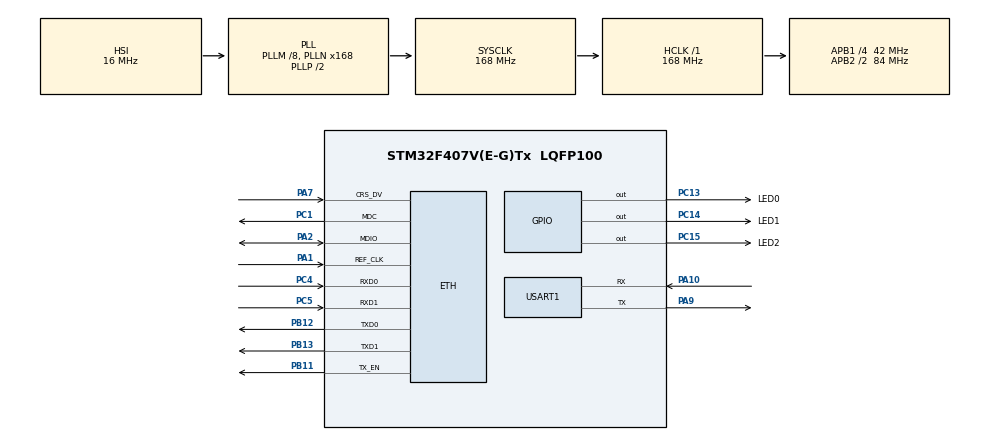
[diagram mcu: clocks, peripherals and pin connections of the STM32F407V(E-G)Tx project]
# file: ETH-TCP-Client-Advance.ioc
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Dma.Request0=USART1_RX
Dma.Request1=USART1_TX
Dma.USART1_RX.0.Direction=DMA_PERIPH_TO_MEMORY
Dma.USART1_RX.0.FIFOMode=DMA_FIFOMODE_DISABLE
Dma.USART1_RX.0.Instance=DMA2_Stream2
Dma.USART1_RX.0.MemDataAlignment=DMA_MDATAALIGN_BYTE
Dma.USART1_RX.0.MemInc=DMA_MINC_ENABLE
Dma.USART1_RX.0.Mode=DMA_NORMAL
Dma.USART1_RX.0.PeriphDataAlignment=DMA_PDATAALIGN_BYTE
Dma.USART1_RX.0.PeriphInc=DMA_PINC_DISABLE
Dma.USART1_RX.0.Priority=DMA_PRIORITY_LOW
Dma.USART1_TX.1.Direction=DMA_MEMORY_TO_PERIPH
Dma.USART1_TX.1.FIFOMode=DMA_FIFOMODE_DISABLE
Dma.USART1_TX.1.Instance=DMA2_Stream7
Dma.USART1_TX.1.MemDataAlignment=DMA_MDATAALIGN_BYTE
Dma.USART1_TX.1.MemInc=DMA_MINC_ENABLE
Dma.USART1_TX.1.Mode=DMA_NORMAL
Dma.USART1_TX.1.PeriphDataAlignment=DMA_PDATAALIGN_BYTE
Dma.USART1_TX.1.PeriphInc=DMA_PINC_DISABLE
Dma.USART1_TX.1.Priority=DMA_PRIORITY_LOW
ETH.AutoNegotiation=ETH_AUTONEGOTIATION_DISABLE
ETH.MediaInterface=ETH_MEDIA_INTERFACE_RMII
ETH.PHY_Name_RMII=DP83848_PHY_ADDRESS
LWIP.GATEWAY_ADDRESS=192.168.100.001
LWIP.IP_ADDRESS=192.168.100.200
LWIP.LWIP_DHCP=0
LWIP.MEM_SIZE=10240
LWIP.NETMASK_ADDRESS=255.255.255.000
LWIP.PBUF_POOL_BUFSIZE=1536
LWIP.TCP_MSS=1460
LWIP.Version=v2.1.2_Cube
Mcu.Family=STM32F4
Mcu.Name=STM32F407V(E-G)Tx
Mcu.Package=LQFP100
NVIC.DMA2_Stream2_IRQn=true\:0\:0\:false\:false\:true\:false\:true
NVIC.DMA2_Stream7_IRQn=true\:0\:0\:false\:false\:true\:false\:true
NVIC.PriorityGroup=NVIC_PRIORITYGROUP_4
NVIC.USART1_IRQn=true\:0\:0\:false\:false\:true\:true\:true
PA1.Mode=RMII
PA1.Signal=ETH_REF_CLK
PA10.Mode=Asynchronous
PA10.Signal=USART1_RX
PA2.Mode=RMII
PA2.Signal=ETH_MDIO
PA7.Mode=RMII
PA7.Signal=ETH_CRS_DV
PA9.Mode=Asynchronous
PA9.Signal=USART1_TX
PB11.Mode=RMII
PB11.Signal=ETH_TX_EN
PB12.Mode=RMII
PB12.Signal=ETH_TXD0
PB13.Mode=RMII
PB13.Signal=ETH_TXD1
PC1.Mode=RMII
PC1.Signal=ETH_MDC
PC13-ANTI_TAMP.GPIO_Label=LED0
PC13-ANTI_TAMP.Signal=GPIO_Output
PC14-OSC32_IN.GPIO_Label=LED1
PC14-OSC32_IN.Signal=GPIO_Output
PC15-OSC32_OUT.GPIO_Label=LED2
PC15-OSC32_OUT.Signal=GPIO_Output
PC4.Mode=RMII
PC4.Signal=ETH_RXD0
PC5.Mode=RMII
PC5.Signal=ETH_RXD1
ProjectManager.HeapSize=0x200
ProjectManager.StackSize=0x400
ProjectManager.TargetToolchain=MDK-ARM V5.27
RCC.48MHZClocksFreq_Value=84000000
RCC.AHBFreq_Value=168000000
RCC.APB1CLKDivider=RCC_HCLK_DIV4
RCC.APB1Freq_Value=42000000
RCC.APB1TimFreq_Value=84000000
RCC.APB2CLKDivider=RCC_HCLK_DIV2
RCC.APB2Freq_Value=84000000
RCC.APB2TimFreq_Value=168000000
RCC.CortexFreq_Value=168000000
RCC.HCLKFreq_Value=168000000
RCC.HSE_VALUE=25000000
RCC.HSI_VALUE=16000000
RCC.LSE_VALUE=32768
RCC.PLLM=8
RCC.PLLN=168
RCC.SYSCLKFreq_VALUE=168000000
RCC.SYSCLKSource=RCC_SYSCLKSOURCE_PLLCLK
RCC.VCOOutputFreq_Value=336000000
USART1.VirtualMode=VM_ASYNC
VP_LWIP_VS_Enabled.Mode=Enabled
board=custom

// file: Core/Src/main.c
/* USER CODE BEGIN Header */
/**
  ******************************************************************************
  * @file           : main.c
  * @brief          : Main program body
  ******************************************************************************
  * @attention
  *
  * <h2><center>&copy; Copyright (c) 2024 STMicroelectronics.
  * All rights reserved.</center></h2>
  *
  * This software component is licensed by ST under Ultimate Liberty license
  * SLA0044, the "License"; You may not use this file except in compliance with
  * the License. You may obtain a copy of the License at:
  *                             www.st.com/SLA0044
  *
  ******************************************************************************
  */
/* USER CODE END Header */
#include "main.h"
#include "dma.h"
#include "lwip.h"
#include "usart.h"
#include "gpio.h"

/* USER CODE BEGIN Includes */
#include "lwip/tcp.h"
#include "lwip/ip.h"
#include "lwip/ip_addr.h"

#include "ALCD.h"
#include "CircularBuffer.h"

#include <string.h>
#include <stdio.h>
/* USER CODE END Includes */

/* USER CODE BEGIN PTD */
typedef struct {
  GPIO_TypeDef*       GPIO;
  uint16_t            Pin;
} Led_PinConfig;

typedef struct {
  ip_addr_t           IP;
  uint16_t            Port;
} Server_Config;

typedef struct {
  struct tcp_pcb*       Context;
  const Server_Config*  Server;
  const Led_PinConfig*  Led;
  uint32_t              NextConnectionCheck;
} Client;

/* USER CODE END PTD */

/* USER CODE BEGIN PD */
#define MAX_CLIENT                3
#define TCP_CONN_RETRY_TIMEOUT    1000
#define TCP_MAX_PACKET            1460
/* USER CODE END PD */

/* USER CODE BEGIN PV */
static const Server_Config SERVER_CONFIGS[] = {
  { .IP = IPADDR4_INIT_BYTES(192, 168, 100, 100), .Port = 8585 },
  { .IP = IPADDR4_INIT_BYTES(192, 168, 100, 100), .Port = 8080 },
  { .IP = IPADDR4_INIT_BYTES(192, 168, 100, 100), .Port = 9595 },
};
static const uint16_t SERVER_CONFIGS_LEN = sizeof(SERVER_CONFIGS) / sizeof(SERVER_CONFIGS[0]);

static const Led_PinConfig LED_CONFIGS[] = {
  { LED0_GPIO_Port, LED0_Pin },
  { LED1_GPIO_Port, LED1_Pin },
  { LED2_GPIO_Port, LED2_Pin },
};
static const uint16_t LED_CONFIGS_LEN = sizeof(LED_CONFIGS) / sizeof(LED_CONFIGS[0]);

static Client clients[MAX_CLIENT] = {0};

static UART_CircularBuffer txUART1;
static UART_CircularBuffer rxUART1;
static uint8_t             txBuff1[1024];
static uint8_t             rxBuff1[1024];

/* USER CODE END PV */

void SystemClock_Config(void);
/* USER CODE BEGIN PFP */
void Client_setConfig(Client* client, const Server_Config* server, const Led_PinConfig* led);

void Client_init(Client* client);
void Client_handle(Client* client);
void Client_handleArray(Client* clients, uint16_t len);

err_t Client_onConnect(void *arg, struct tcp_pcb *tpcb, err_t err);
err_t Client_onReceive(void *arg, struct tcp_pcb *tpcb, struct pbuf *p, err_t err);
err_t Client_onPoll(void *arg, struct tcp_pcb *tpcb);
void  Client_onError(void *arg, err_t err);

void Client_broadcast(uint8_t* buf, uint16_t len);
void Client_close(Client* client);
uint16_t Client_getIdx(Client* client);
/* USER CODE END PFP */

int main(void)
{

  /* MCU Configuration--------------------------------------------------------*/

  /* Reset of all peripherals, Initializes the Flash interface and the Systick. */
  HAL_Init();

  /* Configure the system clock */
  SystemClock_Config();

  /* Initialize all configured peripherals */
  MX_GPIO_Init();
  MX_DMA_Init();
  MX_USART1_UART_Init();
  MX_LWIP_Init();
  /* USER CODE BEGIN 2 */

  // Initialize ALCD
  ALCD_init(16, 2);
  ALCD_clear();

  // Initialize UART Buffer
  UART_CircularBuffer_init(&txUART1, &huart1, txBuff1, sizeof(txBuff1));
  UART_CircularBuffer_init(&rxUART1, &huart1, rxBuff1, sizeof(rxBuff1));
  UART_CircularBuffer_receive(&rxUART1);

  // Initialize Clients
  Client_setConfig(&clients[0], &SERVER_CONFIGS[0], &LED_CONFIGS[0]);
  Client_setConfig(&clients[1], &SERVER_CONFIGS[1], &LED_CONFIGS[1]);
  Client_setConfig(&clients[2], &SERVER_CONFIGS[2], &LED_CONFIGS[2]);

  /* USER CODE END 2 */

  /* Infinite loop */
  /* USER CODE BEGIN WHILE */
  while (1)
  {
    MX_LWIP_Process();
    /* USER CODE END WHILE */

    /* USER CODE BEGIN 3 */
    Client_handleArray(clients, MAX_CLIENT);

    if (UART_CircularBuffer_available(&rxUART1) > 0) {
      uint16_t len = UART_CircularBuffer_available(&rxUART1);

      if (len > TCP_MAX_PACKET) {
        len = TCP_MAX_PACKET;
      }

      uint8_t buff[TCP_MAX_PACKET];

      UART_CircularBuffer_readBytes(&rxUART1, buff, len);
      Client_broadcast(buff, len);
    }

  }
  /* USER CODE END 3 */
}

void SystemClock_Config(void)
{
  RCC_OscInitTypeDef RCC_OscInitStruct = {0};
  RCC_ClkInitTypeDef RCC_ClkInitStruct = {0};

  /** Configure the main internal regulator output voltage
  */
  __HAL_RCC_PWR_CLK_ENABLE();
  __HAL_PWR_VOLTAGESCALING_CONFIG(PWR_REGULATOR_VOLTAGE_SCALE1);
  /** Initializes the RCC Oscillators according to the specified parameters
  * in the RCC_OscInitTypeDef structure.
  */
  RCC_OscInitStruct.OscillatorType = RCC_OSCILLATORTYPE_HSI;
  RCC_OscInitStruct.HSIState = RCC_HSI_ON;
  RCC_OscInitStruct.HSICalibrationValue = RCC_HSICALIBRATION_DEFAULT;
  RCC_OscInitStruct.PLL.PLLState = RCC_PLL_ON;
  RCC_OscInitStruct.PLL.PLLSource = RCC_PLLSOURCE_HSI;
  RCC_OscInitStruct.PLL.PLLM = 8;
  RCC_OscInitStruct.PLL.PLLN = 168;
  RCC_OscInitStruct.PLL.PLLP = RCC_PLLP_DIV2;
  RCC_OscInitStruct.PLL.PLLQ = 4;
  if (HAL_RCC_OscConfig(&RCC_OscInitStruct) != HAL_OK)
  {
    Error_Handler();
  }
  /** Initializes the CPU, AHB and APB buses clocks
  */
  RCC_ClkInitStruct.ClockType = RCC_CLOCKTYPE_HCLK|RCC_CLOCKTYPE_SYSCLK
                              |RCC_CLOCKTYPE_PCLK1|RCC_CLOCKTYPE_PCLK2;
  RCC_ClkInitStruct.SYSCLKSource = RCC_SYSCLKSOURCE_PLLCLK;
  RCC_ClkInitStruct.AHBCLKDivider = RCC_SYSCLK_DIV1;
  RCC_ClkInitStruct.APB1CLKDivider = RCC_HCLK_DIV4;
  RCC_ClkInitStruct.APB2CLKDivider = RCC_HCLK_DIV2;

  if (HAL_RCC_ClockConfig(&RCC_ClkInitStruct, FLASH_LATENCY_5) != HAL_OK)
  {
    Error_Handler();
  }
}

/* USER CODE BEGIN 4 */
void Client_setConfig(Client* client, const Server_Config* server, const Led_PinConfig* led) {
  client->Server = server;
  client->Led = led;
}

void Client_init(Client* client) {
  if (client->Context != NULL) {
    return;
  }

  client->Context = tcp_new();
  if (client->Context) {
    tcp_arg(client->Context, client);
    tcp_err(client->Context, Client_onError);
    err_t err = tcp_connect(client->Context , &client->Server->IP, client->Server->Port, Client_onConnect);

    if (err != ERR_OK) {
      memp_free(MEMP_TCP_PCB, client->Context);
      client->Context = NULL;
    }
  }
}
void Client_handle(Client* client) {
  if (client->NextConnectionCheck <= HAL_GetTick() &&
     (client->Context == NULL ||
     (client->Context != NULL && client->Context->state != ESTABLISHED))
  ) {
    client->NextConnectionCheck = HAL_GetTick() + TCP_CONN_RETRY_TIMEOUT;
    Client_init(client);
  }
}
void Client_handleArray(Client* clients, uint16_t len) {
  while (len-- > 0) {
    Client_handle(clients++);
  }
}

err_t Client_onConnect(void *arg, struct tcp_pcb *tpcb, err_t err) {
  Client* client = (Client*) arg;

  if (tpcb && err == ERR_OK) {
    // Connected
    tcp_recv(tpcb, Client_onReceive);
    tcp_poll(tpcb, Client_onPoll, 1);
    // Led On
    HAL_GPIO_WritePin(client->Led->GPIO, client->Led->Pin, GPIO_PIN_RESET);
  }
  else {
    // Not Connected
    Client_close(client);
  }

  return ERR_OK;
}
err_t Client_onReceive(void *arg, struct tcp_pcb *tpcb, struct pbuf *p, err_t err) {
  Client* client = (Client*) arg;

  if (tpcb && err == ERR_OK) {
    if (p) {
      // Data Received
      char* pChr = (char*) memchr(p->payload, ' ', p->len);
      if (pChr) {
        pChr++;
        uint32_t len = p->len - (uint32_t) ((uint8_t*) pChr - (uint8_t*) p->payload);
        if (strncmp((char*) p->payload, "alcd", 4) == 0) {
          ALCD_printfXY(0, 0, "Client: %u", Client_getIdx(client));
          uint32_t pad = 16 - len;
          ALCD_goto(0, 1);
          while (len-- > 0) {
            ALCD_putChar(*pChr++);
          }
          while (pad-- > 0) {
            ALCD_putChar(' ');
          }
        }
        else if (strncmp((char*) p->payload, "uart", 4) == 0) {
          UART_CircularBuffer_writeFmt(&txUART1, "Client: %u,", Client_getIdx(client));
          UART_CircularBuffer_writeBytes(&txUART1, (uint8_t*) pChr, len);
          UART_CircularBuffer_transmit(&txUART1);
        }
      }

      pbuf_free(p);
    }
    else {
      // Disconnected
      Client_close(client);
    }
  }

  return ERR_OK;
}

err_t Client_onPoll(void *arg, struct tcp_pcb *tpcb) {
  Client* client = (Client*) arg;

  HAL_GPIO_TogglePin(client->Led->GPIO, client->Led->Pin);

  return ERR_OK;
}
void  Client_onError(void *arg, err_t err) {
  Client* client = (Client*) arg;

  client->Context = NULL;
}

void Client_broadcast(uint8_t* buf, uint16_t len) {
  for (uint8_t i = 0; i < MAX_CLIENT; i++) {
    if (clients[i].Context != NULL) {
      tcp_write(clients[i].Context, buf, len, TCP_WRITE_FLAG_COPY);
    }
  }
}
void Client_close(Client* client) {
  if (client->Context) {
    tcp_close(client->Context);
    tcp_abort(client->Context);
    memp_free(MEMP_TCP_PCB, client->Context);
    client->Context = NULL;
    // Led off
    HAL_GPIO_WritePin(client->Led->GPIO, client->Led->Pin, GPIO_PIN_SET);
  }
}

uint16_t Client_getIdx(Client* client) {
  return (uint16_t)(client - clients);
}

// ------------------------------- UART Callbacks ------------------------------

void HAL_UART_TxCpltCallback(UART_HandleTypeDef* huart) {
  switch ((uint32_t) huart->Instance) {
    case USART1_BASE:
      UART_CircularBuffer_handleTx(&txUART1);
      break;
  }
}
void HAL_UART_RxCpltCallback(UART_HandleTypeDef* huart) {
  switch ((uint32_t) huart->Instance) {
    case USART1_BASE:
      UART_CircularBuffer_handleRx(&rxUART1);
      break;
  }
}
void HAL_UART_ErrorCallback(UART_HandleTypeDef* huart) {
  switch ((uint32_t) huart->Instance) {
    case USART1_BASE:
      UART_CircularBuffer_resetIO(&txUART1);
      UART_CircularBuffer_resetIO(&rxUART1);
      UART_CircularBuffer_receive(&rxUART1);
      break;
  }
}
/* USER CODE END 4 */

void Error_Handler(void)
{
  __disable_irq();
  while (1)
  {
  }
}

/************************ (C) COPYRIGHT STMicroelectronics *****END OF FILE****/
